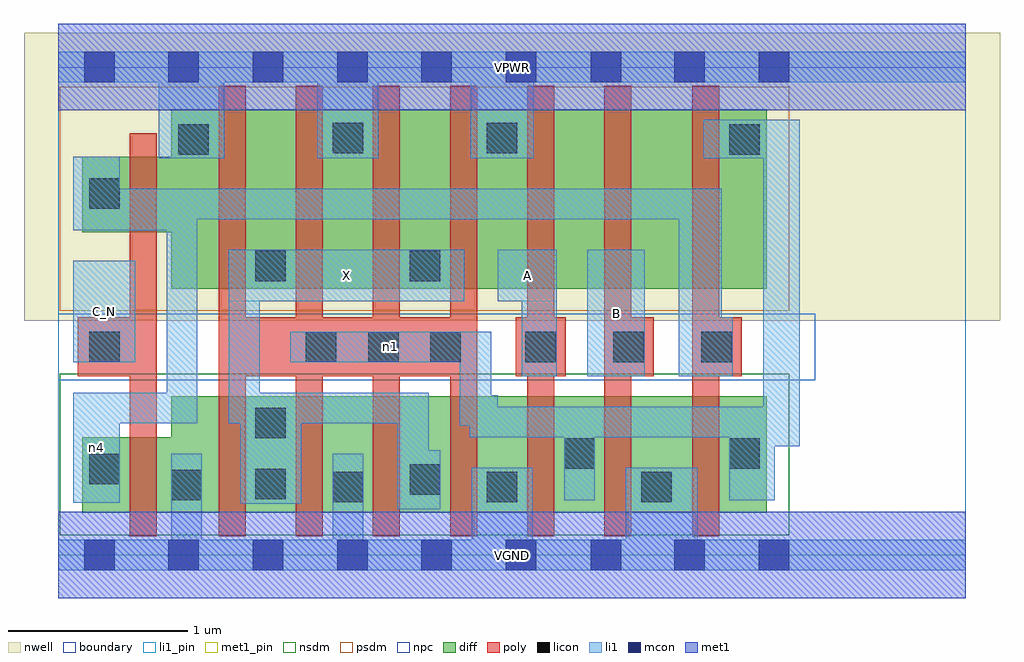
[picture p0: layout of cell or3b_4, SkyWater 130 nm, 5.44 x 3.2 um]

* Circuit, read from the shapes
.subckt or3b_4 A B C_N VGND VPWR X n1 n4
XM1 VGND C_N n4 VSUBS sky130_fd_pr__nfet_01v8 w=0.42 l=0.15
XM2 X n1 VGND VSUBS sky130_fd_pr__nfet_01v8 w=0.65 l=0.15 m=4
XM3 n1 A VGND VSUBS sky130_fd_pr__nfet_01v8 w=0.65 l=0.15
XM4 VGND B n1 VSUBS sky130_fd_pr__nfet_01v8 w=0.65 l=0.15
XM5 n1 n4 VGND VSUBS sky130_fd_pr__nfet_01v8 w=0.65 l=0.15
XM6 VPWR C_N n4 n2 sky130_fd_pr__pfet_01v8 w=0.42 l=0.15
XM7 X n1 VPWR n2 sky130_fd_pr__pfet_01v8 w=1 l=0.15 m=4
XM8 n3 A VPWR n2 sky130_fd_pr__pfet_01v8 w=1 l=0.15
XM9 n5 B n3 n2 sky130_fd_pr__pfet_01v8 w=1 l=0.15
XM10 n1 n4 n5 n2 sky130_fd_pr__pfet_01v8 w=1 l=0.15
.ends

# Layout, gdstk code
import gdstk
lib = gdstk.Library(unit=1e-6, precision=1e-09)
def R(c, l, rs):  # rectangles x0, y0, x1, y1
    for r in rs: c.add(gdstk.rectangle(r[:2], r[2:], *l))
def A(c, l, x, y, w, h, nx, ny, dx, dy):  # array of equal rectangles
    R(c, l, [(x+i*dx, y+j*dy, x+i*dx+w, y+j*dy+h) for i in range(nx) for j in range(ny)])
nwell = (64, 20)
diff = (65, 20)
poly = (66, 20)
licon = (66, 44)
li1_pin = (67, 16)
li1 = (67, 20)
mcon = (67, 44)
met1_pin = (68, 16)
met1 = (68, 20)
nsdm = (93, 44)
psdm = (94, 20)
npc = (95, 20)
boundary = (235, 4)

or3b_4 = lib.new_cell('or3b_4')
R(or3b_4, nwell, [(-0.19,1.305,5.25,2.91), (0,1.305,5.06,2.91)])
R(or3b_4, diff, [(0.135,0.235,3.95,0.655), (0.63,0.235,3.95,0.885), (0.63,1.485,3.95,2.485), (0.135,1.8,3.95,2.22)])
A(or3b_4, poly, 0.895, 0.105, 0.15, 2.51, 6, 1, 0.43, 0)
R(or3b_4, poly, [(0.4,0.105,0.55,2.35), (3.535,0.105,3.685,2.615), (0.11,0.995,0.55,1.325), (0.895,0.995,2.335,1.325), (2.55,0.995,2.83,1.325), (3.045,0.995,3.32,1.325), (3.535,0.995,3.81,1.325)])
A(or3b_4, licon, 1.53, 0.295, 0.17, 0.17, 3, 1, 0.86, 0)
A(or3b_4, licon, 2.605, 1.075, 0.17, 0.17, 3, 1, 0.49, 0)
R(or3b_4, licon, [(0.63,0.305,0.8,0.475), (1.1,0.31,1.27,0.48), (1.96,0.335,2.13,0.505), (0.175,0.395,0.345,0.565), (2.82,0.48,2.99,0.65), (3.74,0.48,3.91,0.65), (1.1,0.65,1.27,0.82), (0.175,1.075,0.345,1.245), (1.38,1.075,1.55,1.245), (1.73,1.075,1.9,1.245), (2.075,1.075,2.245,1.245), (1.1,1.525,1.27,1.695), (1.96,1.525,2.13,1.695), (0.175,1.93,0.345,2.1), (0.67,2.23,0.84,2.4), (3.74,2.23,3.91,2.4), (1.53,2.24,1.7,2.41), (2.39,2.24,2.56,2.41)])
R(or3b_4, li1_pin, [(2.95,0.995,3.27,1.7), (0.085,1.075,0.43,1.64), (0.95,1.415,2.265,1.7), (2.45,1.415,2.78,1.7)])
R(or3b_4, li1, [(0,-0.085,5.06,0.085), (0.63,-0.085,0.8,0.565), (1.53,-0.085,1.7,0.565), (2.305,-0.085,2.645,0.485), (3.165,-0.085,3.565,0.485), (1.89,0.255,2.065,0.905), (1.89,0.255,2.13,0.585), (1.015,0.285,1.355,0.905), (0.085,0.29,0.345,0.905), (2.82,0.305,2.99,0.825), (3.74,0.305,3.995,0.825), (3.93,0.605,4.135,2.425), (2.295,0.655,4.135,0.825), (2.24,0.72,2.415,1.245), (2.24,0.72,2.45,0.89), (0.085,0.735,0.775,0.905), (0.605,0.735,0.775,2.04), (0.95,0.735,2.065,0.905), (0.95,0.735,1.125,1.7), (2.585,0.995,2.78,1.7), (2.95,0.995,3.27,1.7), (3.46,0.995,3.7,2.04), (3.46,0.995,3.76,1.325), (0.085,1.075,0.43,1.64), (1.295,1.075,2.415,1.245), (0.95,1.415,2.265,1.7), (2.45,1.415,2.78,1.7), (0.085,1.81,0.345,2.22), (0.085,1.81,0.775,2.04), (0.085,1.87,3.7,2.04), (0.56,2.21,0.925,2.805), (1.445,2.21,1.785,2.805), (2.3,2.21,2.65,2.805), (3.595,2.21,4.135,2.425), (0,2.635,5.06,2.805)])
A(or3b_4, mcon, 0.145, -0.085, 0.17, 0.17, 6, 2, 0.47, 2.72)
R(or3b_4, mcon, [(2.97,-0.085,3.14,0.085), (3.435,-0.085,3.605,0.085), (3.905,-0.085,4.075,0.085), (2.97,2.635,3.14,2.805), (3.435,2.635,3.605,2.805), (3.905,2.635,4.075,2.805)])
R(or3b_4, met1_pin, [(0,-0.24,5.06,0.24), (0,2.48,5.06,2.96)])
R(or3b_4, met1, [(0,-0.24,5.06,0.24), (0,2.48,5.06,2.96)])
R(or3b_4, nsdm, [(0.01,0.11,4.075,1.01)])
R(or3b_4, psdm, [(0.01,1.36,4.075,2.61)])
R(or3b_4, npc, [(0,0.975,4.22,1.345)])
R(or3b_4, boundary, [(0,0,5.06,2.72)])
or3b_4.add(gdstk.Label('A', (2.615,1.557), layer=67, texttype=5))
or3b_4.add(gdstk.Label('B', (3.11,1.347), layer=67, texttype=5))
or3b_4.add(gdstk.Label('C_N', (0.257,1.357), layer=67, texttype=5))
or3b_4.add(gdstk.Label('X', (1.607,1.557), layer=67, texttype=5))
or3b_4.add(gdstk.Label('n4', (0.215,0.597), layer=67, texttype=5))
or3b_4.add(gdstk.Label('n1', (1.855,1.16), layer=67, texttype=5))
or3b_4.add(gdstk.Label('VPWR', (2.53,2.72), layer=68, texttype=5))
or3b_4.add(gdstk.Label('VGND', (2.53,0), layer=68, texttype=5))
or3b_4.add(gdstk.Label('A', (2.615,1.557), layer=67, texttype=16))
or3b_4.add(gdstk.Label('B', (3.11,1.347), layer=67, texttype=16))
or3b_4.add(gdstk.Label('C_N', (0.257,1.357), layer=67, texttype=16))
or3b_4.add(gdstk.Label('X', (1.607,1.557), layer=67, texttype=16))
or3b_4.add(gdstk.Label('VPWR', (2.53,2.72), layer=68, texttype=16))
or3b_4.add(gdstk.Label('VGND', (2.53,0), layer=68, texttype=16))

lib.write_gds('or3b_4.gds')
